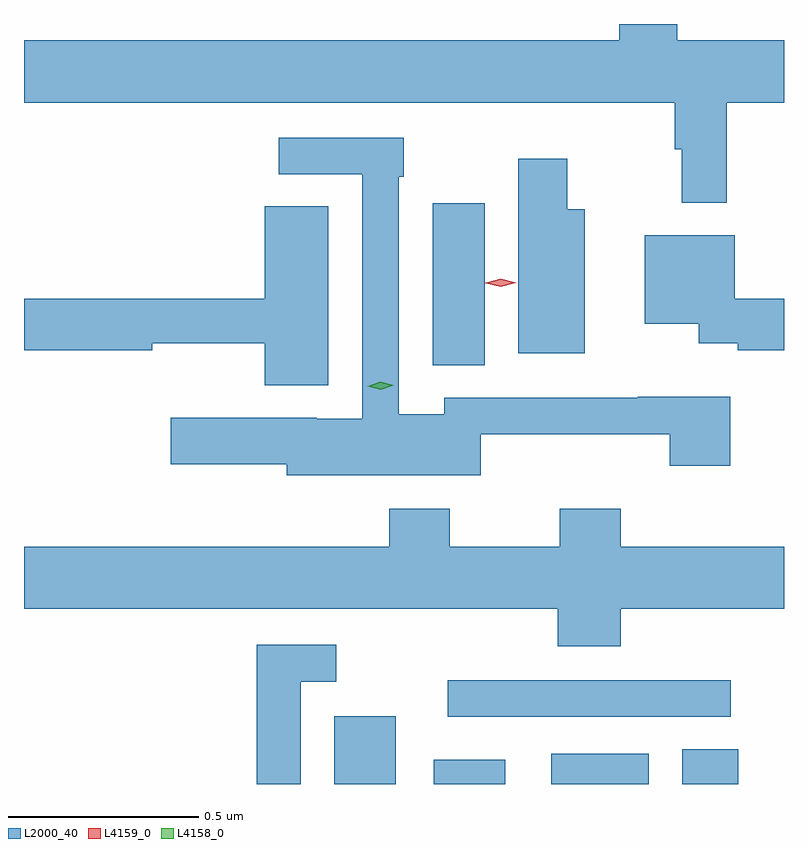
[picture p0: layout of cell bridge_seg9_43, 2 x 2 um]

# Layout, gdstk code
import gdstk
lib = gdstk.Library(unit=1e-6, precision=1e-09)
def R(c, l, rs):  # rectangles x0, y0, x1, y1
    for r in rs: c.add(gdstk.rectangle(r[:2], r[2:], *l))
def P(c, l, *ps):  # polygons
    for p in ps: c.add(gdstk.Polygon(p, *l))
L2000_40 = (2000, 40)
L4158_0 = (4158, 0)
L4159_0 = (4159, 0)

bridge_seg9_43 = lib.new_cell('bridge_seg9_43')
R(bridge_seg9_43, L2000_40, [(916.793,1223.931,916.954,1224.109), (917.054,1223.931,917.242,1223.995), (917.363,1223.931,917.62,1224.01), (917.708,1223.931,917.855,1224.023), (917.091,1224.108,917.836,1224.204), (917.051,1225.033,917.188,1225.459)])
P(bridge_seg9_43, L2000_40, [(917.825,1225.724),(917.976,1225.724),(917.976,1225.888),(917.695,1225.888),(917.695,1225.931),(917.543,1225.931),(917.543,1225.888),(915.976,1225.888),(915.976,1225.724),(917.689,1225.724),(917.689,1225.601),(917.707,1225.601),(917.707,1225.461),(917.825,1225.461)],
  [(917.178,1224.851),(917.675,1224.851),(917.675,1224.768),(917.835,1224.768),(917.835,1224.95),(917.591,1224.95),(917.591,1224.948),(917.082,1224.948),(917.082,1224.904),(916.962,1224.904),(916.962,1225.529),(916.975,1225.529),(916.975,1225.632),(916.647,1225.632),(916.647,1225.536),(916.866,1225.536),(916.866,1224.892),(916.746,1224.892),(916.746,1224.895),(916.362,1224.895),(916.362,1224.773),(916.667,1224.773),(916.667,1224.743),(917.178,1224.743)],
  [(917.452,1225.444),(917.406,1225.444),(917.406,1225.576),(917.276,1225.576),(917.276,1225.064),(917.452,1225.064)],
  [(916.777,1225.451),(916.61,1225.451),(916.61,1225.208),(915.976,1225.208),(915.976,1225.072),(916.314,1225.072),(916.314,1225.091),(916.61,1225.091),(916.61,1224.98),(916.777,1224.98)],
  [(917.976,1225.208),(917.847,1225.208),(917.847,1225.375),(917.609,1225.375),(917.609,1225.142),(917.751,1225.142),(917.751,1225.091),(917.854,1225.091),(917.854,1225.072),(917.976,1225.072)],
  [(917.546,1224.392),(917.976,1224.392),(917.976,1224.556),(917.546,1224.556),(917.546,1224.655),(917.386,1224.655),(917.386,1224.556),(917.097,1224.556),(917.097,1224.655),(916.937,1224.655),(916.937,1224.556),(915.976,1224.556),(915.976,1224.392),(917.381,1224.392),(917.381,1224.293),(917.546,1224.293)],
  [(916.704,1224.2),(916.798,1224.2),(916.798,1224.297),(916.588,1224.297),(916.588,1223.931),(916.704,1223.931)])
P(bridge_seg9_43, L4158_0, [(916.915,1224.969),(916.88,1224.978),(916.879,1224.978),(916.88,1224.978),(916.914,1224.989),(916.949,1224.981),(916.949,1224.981),(916.949,1224.98)])
P(bridge_seg9_43, L4159_0, [(917.231,1225.24),(917.191,1225.249),(917.19,1225.25),(917.191,1225.25),(917.231,1225.26),(917.272,1225.25),(917.272,1225.25),(917.272,1225.25)])

lib.write_gds('bridge_seg9_43.gds')
